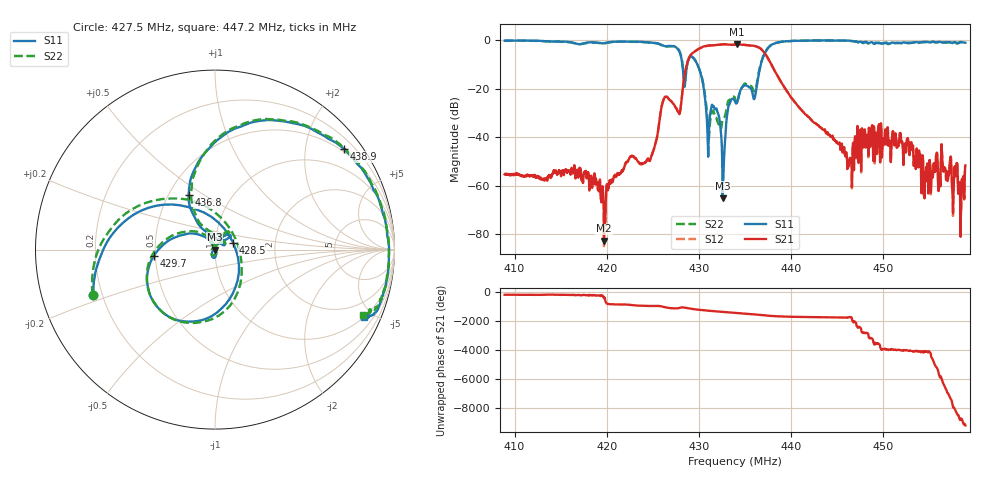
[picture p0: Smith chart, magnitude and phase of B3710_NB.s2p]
! S-Parameter for B3710 in Touchstone format with Magnitude (lin) and Phase
! Normalised impedance: 50 Ohm. Measurement system: 50 Ohm. Ta=20°C
! B3710_NB.S2P not matched. Measurement full 2-port calibrated incl. Port.Ext.
! Start: 408.92MHz, Stop: 458.92MHz, Span 50MHz, 1601 Pts., Step 31.25kHz
! Date: 10/12/04 - EPCOS SAW CE AE PD; TT
# MHz  S  MA  R  50
! Freq  S11  S21  S12  S22
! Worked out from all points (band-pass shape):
!   1601 points, 408.9 MHz to 458.9 MHz, reference 50 ohm
!   highest |S21| = -1.71 dB at 434.2 MHz (marker M1); lowest = -82.6 dB at 419.7 MHz (marker M2)
!   |S21| within 3 dB of the highest: 429.6 MHz to 437 MHz (7.4 MHz wide, 1.71 % of centre)
!   lowest |S11| = -65.1 dB at 432.6 MHz (marker M3), VSWR 1.00, Z = 50 + j0.0459 ohm
!   |S11| at or under -10 dB: 428.1982 MHz to 428.741 MHz (542.7 kHz wide, 0.127 % of centre); 429.8 MHz to 436.7 MHz (6.905 MHz wide, 1.59 % of centre)
!   |S22| runs from -40.8 to -0.2 dB; largest |S21 - S12| = 0.0029
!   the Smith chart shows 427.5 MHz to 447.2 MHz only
!   S11 on the Smith chart (normalised r, x): 427.5 MHz: 0.17, -0.17; 428.5 MHz: 1.22, +0.10; 429.7 MHz: 0.49, -0.04; 436.8 MHz: 0.63, +0.43; 438.9 MHz: 0.43, +2.85; 447.2 MHz: 1.00, -4.42
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408.92  0.9636 -64.5  0.001718 -159.4  0.001748 -159.1  0.9585 -63.8
417.2638  0.8243 -75.0  0.001294 167.3  0.00136 167.3  0.8221 -74.7
419.7013  0.8545 -78.7  7.439e-05 -41.1  5.726e-05 -38.7  0.8487 -78.6
425.6075  0.8372 -121.6  0.01516 146.0  0.01521 146.2  0.8321 -122.3
426.3263  0.7398 -129.3  0.06756 54.4  0.0678 54.4  0.7254 -130.3
427.4513  0.7222 -159.7  0.04128 -21.9  0.04148 -21.8  0.727 -159.7
428.4513  0.1079 21.4  0.1891 28.9  0.1893 28.6  0.1294 28.5
429.7325  0.3429 -174.0  0.6092 -99.6  0.61 -99.7  0.3424 -177.1
431.0138  0.00394 6.2  0.7621 175.9  0.7621 175.9  0.01403 58.1
431.9513  0.03624 -119.0  0.7871 125.7  0.7869 125.7  0.02271 -145.8
432.5763  0.0005566 124.4  0.8086 94.5  0.8085 94.5  0.02247 89.0
433.92  0.05416 26.7  0.8024 31.9  0.8023 31.9  0.06237 26.4
434.17  0.0523 47.9  0.8216 19.1  0.8209 19.0  0.05358 56.0
435.7638  0.08848 41.4  0.7654 -60.9  0.7655 -61.1  0.1079 55.6
436.7638  0.337 115.9  0.6461 -123.8  0.6466 -124.0  0.3486 112.3
438.8888  0.9114 38.0  0.1394 138.4  0.139 138.2  0.9128 39.0
442.2638  0.9695 -0.4  0.02195 92.1  0.02188 92.0  0.969 1.1
446.3575  0.962 -21.2  0.00344 94.4  0.003478 94.9  0.9555 -19.6
447.2013  0.9116 -24.3  0.01681 134.1  0.01688 132.5  0.9003 -23.7
450.6075  0.8316 -26.0  0.007121 -3.6  0.007108 -3.7  0.829 -23.1
458.3575  0.8898 -31.8  0.000424 158.9  0.000404 169.1  0.9055 -31.1
458.92  0.8742 -33.5  0.002623 146.7  0.002562 143.9  0.852 -32.3
